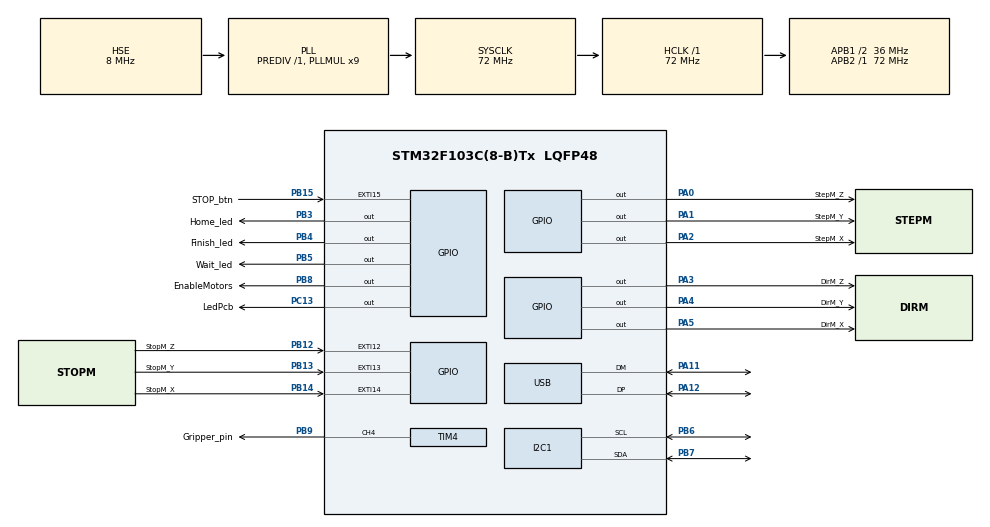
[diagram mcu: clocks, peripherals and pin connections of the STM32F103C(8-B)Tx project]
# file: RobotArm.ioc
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Mcu.Family=STM32F1
Mcu.Name=STM32F103C(8-B)Tx
Mcu.Package=LQFP48
NVIC.PriorityGroup=NVIC_PRIORITYGROUP_4
NVIC.TIM2_IRQn=true\:0\:0\:false\:false\:true\:true\:true\:true
NVIC.TIM3_IRQn=true\:0\:0\:false\:false\:true\:true\:true\:true
NVIC.USB_LP_CAN1_RX0_IRQn=true\:0\:0\:false\:false\:true\:false\:true\:true
PA0-WKUP.GPIO_Label=StepM_Z
PA0-WKUP.Signal=GPIO_Output
PA1.GPIO_Label=StepM_Y
PA1.Signal=GPIO_Output
PA11.Mode=Device
PA11.Signal=USB_DM
PA12.Mode=Device
PA12.Signal=USB_DP
PA13.Mode=Serial_Wire
PA13.Signal=SYS_JTMS-SWDIO
PA14.Mode=Serial_Wire
PA14.Signal=SYS_JTCK-SWCLK
PA2.GPIO_Label=StepM_X
PA2.Signal=GPIO_Output
PA3.GPIO_Label=DirM_Z
PA3.Signal=GPIO_Output
PA4.GPIO_Label=DirM_Y
PA4.Signal=GPIO_Output
PA5.GPIO_Label=DirM_X
PA5.Signal=GPIO_Output
PB12.GPIO_Label=StopM_Z
PB12.Signal=GPXTI12
PB13.GPIO_Label=StopM_Y
PB13.Signal=GPXTI13
PB14.GPIO_Label=StopM_X
PB14.Signal=GPXTI14
PB15.GPIO_Label=STOP_btn
PB15.Signal=GPXTI15
PB3.GPIO_Label=Home_led
PB3.Signal=GPIO_Output
PB4.GPIO_Label=Finish_led
PB4.Signal=GPIO_Output
PB5.GPIO_Label=Wait_led
PB5.Signal=GPIO_Output
PB6.Mode=I2C
PB6.Signal=I2C1_SCL
PB7.Mode=I2C
PB7.Signal=I2C1_SDA
PB8.GPIO_Label=EnableMotors
PB8.Signal=GPIO_Output
PB9.GPIO_Label=Gripper_pin
PB9.Signal=S_TIM4_CH4
PC13-TAMPER-RTC.GPIO_Label=LedPcb
PC13-TAMPER-RTC.Signal=GPIO_Output
PD0-OSC_IN.Mode=HSE-External-Oscillator
PD0-OSC_IN.Signal=RCC_OSC_IN
PD1-OSC_OUT.Mode=HSE-External-Oscillator
PD1-OSC_OUT.Signal=RCC_OSC_OUT
ProjectManager.HeapSize=0x200
ProjectManager.StackSize=0x400
ProjectManager.TargetToolchain=STM32CubeIDE
RCC.AHBFreq_Value=72000000
RCC.APB1CLKDivider=RCC_HCLK_DIV2
RCC.APB1Freq_Value=36000000
RCC.APB1TimFreq_Value=72000000
RCC.APB2Freq_Value=72000000
RCC.APB2TimFreq_Value=72000000
RCC.HCLKFreq_Value=72000000
RCC.PLLMUL=RCC_PLL_MUL9
RCC.SYSCLKFreq_VALUE=72000000
RCC.SYSCLKSource=RCC_SYSCLKSOURCE_PLLCLK
RCC.USBFreq_Value=48000000
RCC.USBPrescaler=RCC_USBCLKSOURCE_PLL_DIV1_5
SH.S_TIM4_CH4.0=TIM4_CH4,PWM Generation4 CH4
TIM2.Prescaler=71
TIM3.Period=9999
TIM3.Prescaler=7199
TIM4.Channel-PWM\ Generation4\ CH4=TIM_CHANNEL_4
TIM4.Period=19999
TIM4.Prescaler=71
USB_DEVICE.CLASS_NAME_FS=CDC
USB_DEVICE.VirtualMode=Cdc
USB_DEVICE.VirtualModeFS=Cdc_FS
VP_TIM2_VS_ClockSourceINT.Mode=Internal
VP_TIM3_VS_ClockSourceINT.Mode=Internal
VP_TIM4_VS_ClockSourceINT.Mode=Internal
VP_USB_DEVICE_VS_USB_DEVICE_CDC_FS.Mode=CDC_FS
board=custom

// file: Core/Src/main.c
/* USER CODE BEGIN Header */
/**
  ******************************************************************************
  * @file           : main.c
  * @brief          : Main program body
  ******************************************************************************
  */
/* USER CODE END Header */
#include "main.h"
#include "i2c.h"
#include "tim.h"
#include "usb_device.h"
#include "gpio.h"

/* USER CODE BEGIN Includes */
#include "usbd_cdc_if.h"
#include "lcd_i2c.h"
#include <string.h>
#include <stdio.h>

// --- NUEVOS MODULOS ---
#include "robot_defines.h"
#include "motor_driver.h"
#include "gripper_driver.h"
#include "comm_manager.h"
#include "robot_logic.h"
/* USER CODE END Includes */

/* USER CODE BEGIN PTD */
// (Vacío: La estructura StepperMotor ahora está en robot_defines.h)
/* USER CODE END PTD */

/* USER CODE BEGIN PD */
// (Vacío: Los defines están en los headers correspondientes)
/* USER CODE END PD */

/* USER CODE BEGIN PV */

// Array principal de motores (Variable Global compartida con extern)
StepperMotor motors[NUM_MOTORS];

// Buffers de Comunicación (Compartidos con comm_manager y robot_logic)
// flagUsb es volatile: lo pone en 1 la ISR de recepción USB y lo sondea el bucle
// principal. Sin el calificador el compilador puede cachearlo en un registro y
// el bucle no se entera nunca de que llegó un comando.
volatile uint8_t flagUsb = 0;       // Se pone en 1 desde usbd_cdc_if.c

// buffer_rx queda SIN volatile a propósito: se lo pasa a atoi(), BuscarValor() y
// CDC_FS_Substring(), que reciben char*, y calificarlo dispararía "discards
// volatile qualifier" en toda la cadena. La sincronización real la da flagUsb:
// la ISR llena el buffer y recién después lo señaliza, y el bucle sólo lee el
// buffer cuando ve el flag levantado.
char buffer_rx[40];
char buffer_tx[80];
char buffer_data[4][6];

// volatile: lo incrementa la ISR de TIM3 (1 Hz) y lo leen los busy-wait del
// homing en motor_driver.c. Sin volatile el compilador cachea el valor en un
// registro, la condición `contSeconds < TIMEOUT_SEC` no cambia nunca y la
// rutina de homing queda colgada para siempre en STATE_HOMING.
volatile int contSeconds = 0;

// Variables para LCD (Estéticas del Main)
// Nota: estadoGarra se maneja internamente en gripper_driver,
// pero si necesitas mostrarla en LCD, puedes usar una variable local o getters.
extern uint8_t estadoGarra; // Traída del driver si la definiste global allá, o úsala local.

// Asegúrate de tener acceso a la variable global
extern volatile uint8_t robotState;

// Bandera de fallo de homing (definida en robot_logic.c): si != 0, parpadeamos el
// LED de Home físico para avisar el error también en la placa.
extern volatile uint8_t homingFailed;

// 0: Muestra "???", 1: Muestra coordenadas "000"
uint8_t robotCalibrated = 0;
extern uint8_t estadoGarra; // Traída de gripper_driver.c

// Marca de tiempo (HAL_GetTick) hasta la cual el LCD muestra el aviso de
// "Comunicación USB establecida". La fija el handler del handshake :-I.
volatile uint32_t usbGreetingUntil = 0;

/* USER CODE END PV */

void SystemClock_Config(void);
/* USER CODE BEGIN PFP */
void Actualizar_LCD(void);
/* USER CODE END PFP */

int main(void)
{

  /* MCU Configuration--------------------------------------------------------*/

  /* Reset of all peripherals, Initializes the Flash interface and the Systick. */
  HAL_Init();

  /* Configure the system clock */
  SystemClock_Config();

  /* Initialize all configured peripherals */
  MX_GPIO_Init();
//  MX_TIM2_Init();
  MX_USB_DEVICE_Init();
  MX_TIM4_Init();
  MX_TIM3_Init();
  MX_I2C1_Init();
  /* USER CODE BEGIN 2 */
  // Tus sensores están en PB12, PB13, PB14. Usan el vector EXTI15_10
    HAL_NVIC_SetPriority(EXTI15_10_IRQn, 0, 0); // Prioridad 0 (La más alta posible)
    HAL_NVIC_EnableIRQ(EXTI15_10_IRQn);

    MX_TIM2_Init();

  // --- INICIALIZACIÓN DE PERIFÉRICOS ---

  // 1. LCD
  Lcd_Init();
  Lcd_Clear();
  Lcd_Set_Cursor(1,1); Lcd_Send_String("Iniciando...");
  HAL_Delay(1000);

  // 2. LEDS y ENABLE
  HAL_GPIO_WritePin(Wait_led_GPIO_Port, Wait_led_Pin, RESET);
  HAL_GPIO_WritePin(Finish_led_GPIO_Port, Finish_led_Pin, RESET);
  HAL_GPIO_WritePin(Home_led_GPIO_Port, Home_led_Pin, RESET);

  // Inicialmente deshabilitados o habilitados según tu lógica
  HAL_GPIO_WritePin(EnableMotors_GPIO_Port, EnableMotors_Pin, SET); // Deshabilitado (lógica negativa A4988?)

  // 3. GRIPPER
  Gripper_Init();

  // 4. MOTORES (Configuración inicial)
  // Nota: Asegúrate de que los defines StepM_X_GPIO_Port, etc., existen en main.h
  motors[0] = (StepperMotor){ StepM_X_GPIO_Port, StepM_X_Pin, DirM_X_GPIO_Port, DirM_X_Pin, 0, 0, 1, 0, 0, 0, 0, 1 };
  motors[1] = (StepperMotor){ StepM_Y_GPIO_Port, StepM_Y_Pin, DirM_Y_GPIO_Port, DirM_Y_Pin, 0, 0, 1, 0, 0, 0, 0, 1 };
  motors[2] = (StepperMotor){ StepM_Z_GPIO_Port, StepM_Z_Pin, DirM_Z_GPIO_Port, DirM_Z_Pin, 0, 0, 1, 0, 0, 0, 0, 1 };

  // Completa los campos de rampa (minVelocity, accelRate, targetVelocity) que el
  // initializer de arriba deja en 0. Debe ir DESPUÉS de asignar los structs
  // (no toca puertos/pines) y ANTES de arrancar TIM2.
  Motor_Init();

  // 5. TIMERS
  HAL_TIM_Base_Start_IT(&htim2); // Timer de Pasos (Driver Motor)
  HAL_TIM_Base_Start_IT(&htim3); // Timer auxiliar segundos
  // TIM4 (PWM) ya se inició en Gripper_Init

  Lcd_Clear();
  Lcd_Set_Cursor(1,1); Lcd_Send_String("Robot Ready!");
  Lcd_Set_Cursor(2,1); Lcd_Send_String("Waiting USB...");

  /* USER CODE END 2 */

  /* Infinite loop */
  /* USER CODE BEGIN WHILE */
  while (1)
  {
      // --- A. ATENCIÓN AL USB ---
	  if(flagUsb == 1){
//		  HAL_GPIO_TogglePin(LedPcb_GPIO_Port, LedPcb_Pin);

		  // Toda la lógica compleja se movió a robot_logic.c
		  Robot_ProcesarComando(buffer_rx);

		  flagUsb = 0; // Bajamos la bandera
	  }

	  // --- B. TAREAS DE FONDO (IDLE) ---
	  else {
		  // Actualización continua de motores (Polling para verificar llegada a destino)
		  // Esto es necesario si moveMotors maneja rampas o lógica de parada suave
		  for (int k = 0; k < NUM_MOTORS; ++k) {
			  moveMotors(&motors[k], 0, 0);
		  }

		  // --- ACTUALIZAR LCD ---
		  Actualizar_LCD(); // <--- LLAMADA AQUÍ

		  // Actualización de LCD (Opcional: hacer un contador para no refrescar tan rápido)
		  static uint32_t lcd_timer = 0;
		  if (HAL_GetTick() - lcd_timer > 500) {
		      // Aquí puedes poner tu código para mostrar X, Y, Z en el LCD
		      // Lcd_Set_Cursor(2,1); sprintf(...)
		      lcd_timer = HAL_GetTick();
		  }
	  }

	  // Reporta por USB el origen del último evento de interrupción (botón físico,
	  // :-S por software, o qué fin de carrera). Fuera de la ISR para no bloquear.
	  Robot_ReportInterrupts();

	  Robot_UpdateTelemetry();
    /* USER CODE END WHILE */

  }
}

void SystemClock_Config(void)
{
    // (Tu configuración de reloj se mantiene igual, generada por CubeMX)
  RCC_OscInitTypeDef RCC_OscInitStruct = {0};
  RCC_ClkInitTypeDef RCC_ClkInitStruct = {0};
  RCC_PeriphCLKInitTypeDef PeriphClkInit = {0};

  RCC_OscInitStruct.OscillatorType = RCC_OSCILLATORTYPE_HSE;
  RCC_OscInitStruct.HSEState = RCC_HSE_ON;
  RCC_OscInitStruct.HSEPredivValue = RCC_HSE_PREDIV_DIV1;
  RCC_OscInitStruct.HSIState = RCC_HSI_ON;
  RCC_OscInitStruct.PLL.PLLState = RCC_PLL_ON;
  RCC_OscInitStruct.PLL.PLLSource = RCC_PLLSOURCE_HSE;
  RCC_OscInitStruct.PLL.PLLMUL = RCC_PLL_MUL9;
  if (HAL_RCC_OscConfig(&RCC_OscInitStruct) != HAL_OK)
  {
    Error_Handler();
  }

  RCC_ClkInitStruct.ClockType = RCC_CLOCKTYPE_HCLK|RCC_CLOCKTYPE_SYSCLK
                              |RCC_CLOCKTYPE_PCLK1|RCC_CLOCKTYPE_PCLK2;
  RCC_ClkInitStruct.SYSCLKSource = RCC_SYSCLKSOURCE_PLLCLK;
  RCC_ClkInitStruct.AHBCLKDivider = RCC_SYSCLK_DIV1;
  RCC_ClkInitStruct.APB1CLKDivider = RCC_HCLK_DIV2;
  RCC_ClkInitStruct.APB2CLKDivider = RCC_HCLK_DIV1;

  if (HAL_RCC_ClockConfig(&RCC_ClkInitStruct, FLASH_LATENCY_2) != HAL_OK)
  {
    Error_Handler();
  }
  PeriphClkInit.PeriphClockSelection = RCC_PERIPHCLK_USB;
  PeriphClkInit.UsbClockSelection = RCC_USBCLKSOURCE_PLL_DIV1_5;
  if (HAL_RCCEx_PeriphCLKConfig(&PeriphClkInit) != HAL_OK)
  {
    Error_Handler();
  }
}

/* USER CODE BEGIN 4 */

// --- CALLBACKS DE INTERRUPCIONES LIMPIOS ---

void HAL_TIM_PeriodElapsedCallback(TIM_HandleTypeDef *htim) {
	// Timer de generación de pasos (Alta frecuencia)
	if (htim->Instance == TIM2) {
	     Motor_Timer_Callback(); // Delegamos al driver
	}
	// Timer de conteo de segundos (Baja frecuencia)
	if (htim->Instance == TIM3){
		contSeconds++;   // declarado arriba en este mismo archivo
	}
}

void HAL_GPIO_EXTI_Callback(uint16_t GPIO_Pin){
    // Delegamos la lógica de sensores al driver
	Motor_Sensor_Triggered(GPIO_Pin);
}

// NOTA: Todas las funciones viejas (modoCalibracion, HomingMotors, etc.)
// han sido eliminadas de aquí porque ahora viven en:
// - comm_manager.c
// - motor_driver.c
// - robot_logic.c
// - gripper_driver.c
void Actualizar_LCD(void) {
    static uint32_t lcd_timer = 0;

    // Refrescamos cada 300ms
    if (HAL_GetTick() - lcd_timer > 300) {
        lcd_timer = HAL_GetTick();

        // PARPADEO DE ERROR DE HOMING: si el homing falló, hacemos titilar el LED de
        // Home (~1.6 Hz). Tiene prioridad de aviso incluso sin PC conectada.
        if (homingFailed) {
            HAL_GPIO_TogglePin(Home_led_GPIO_Port, Home_led_Pin);
        }

        Lcd_Clear(); // Limpiamos todo
        // ============================================================
        // PRIORIDAD 1: PANTALLA DE EMERGENCIA
        // ============================================================
        if (robotState == STATE_ESTOP) {
            // Mensaje parpadeante o fijo de ALERTA
            Lcd_Set_Cursor(1,1);
            Lcd_Send_String("!! E-STOP !!"); // Renglón 1

            Lcd_Set_Cursor(2,1);
            Lcd_Send_String("Send :-R to Fix"); // Renglón 2: Instrucción clara

            // Feedback visual extra: Parpadear el LED de la placa
            HAL_GPIO_TogglePin(Wait_led_GPIO_Port, Wait_led_Pin);

            return; // Salimos. No mostramos coordenadas ni nada más.
        }

        // ============================================================
        // PRIORIDAD 2: AVISO DE COMUNICACIÓN USB (handshake :-I)
        // ============================================================
        // Mientras la ventana temporal esté vigente, avisamos que la PC
        // estableció la comunicación. No es bloqueante: al vencer, sigue solo.
        if (HAL_GetTick() < usbGreetingUntil) {
            Lcd_Set_Cursor(1,1);
            Lcd_Send_String("Comunicacion USB");
            Lcd_Set_Cursor(2,1);
            Lcd_Send_String("Establecida OK");
            return;
        }

        // Renglón 1: Fijo
        Lcd_Set_Cursor(1,1);
        Lcd_Send_String("Estado Global");

        // Renglón 2: Dinámico
        Lcd_Set_Cursor(2,1);

        char buffer_lcd[17]; // Buffer temporal para formatear texto
        char charGarra = (estadoGarra == 1) ? 'A' : 'C'; // A=Abierta, C=Cerrada

        if (robotCalibrated == 0) {
            // ESTADO DESCONOCIDO
            // Muestra: X???|Y???|Z???|?
            // Si la garra ya se movió alguna vez, mostramos su estado, si no '?'
            sprintf(buffer_lcd, "X???|Y???|Z???|%c", charGarra);
        }
        else {
            // ESTADO CONOCIDO (CALIBRADO)
            // %03d fuerza a que el número tenga 3 dígitos (ej: 5 -> 005)
            sprintf(buffer_lcd, "X%03d|Y%03d|Z%03d|%c",
                    motors[0].currentPosition,
                    motors[1].currentPosition,
                    motors[2].currentPosition,
                    charGarra);
        }

        Lcd_Send_String(buffer_lcd);
    }
}

/* USER CODE END 4 */

void Error_Handler(void)
{
  __disable_irq();
  while (1)
  {
  }
}
